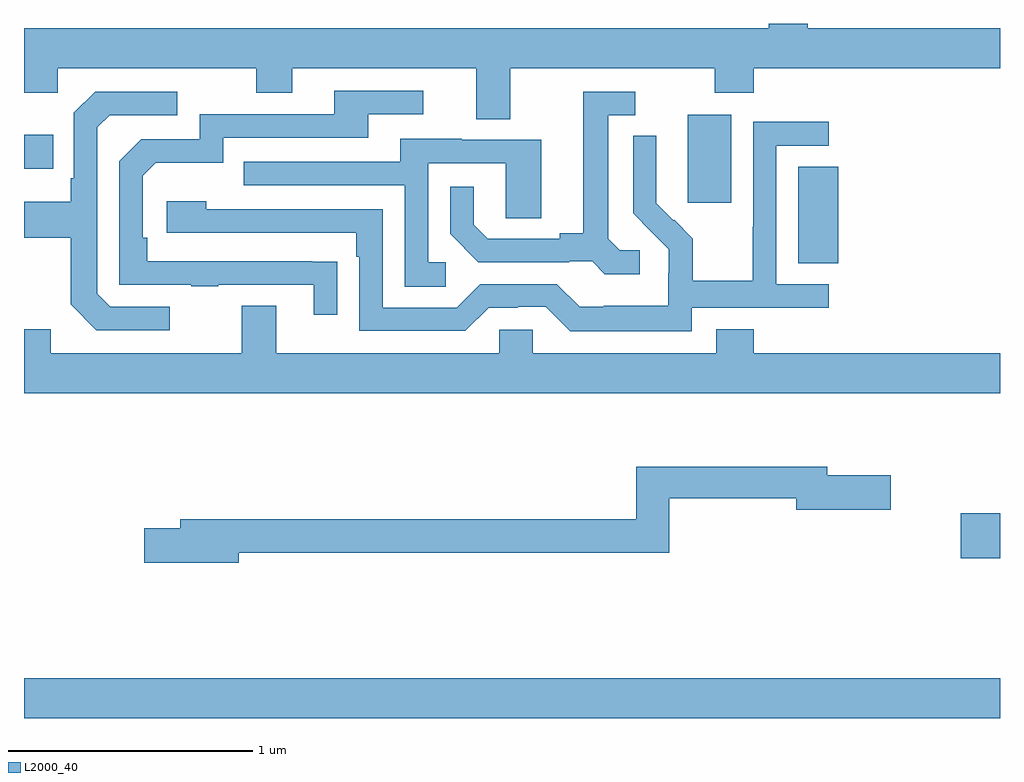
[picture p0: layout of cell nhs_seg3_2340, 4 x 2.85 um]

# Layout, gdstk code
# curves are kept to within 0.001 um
import gdstk
lib = gdstk.Library(unit=1e-6, precision=1e-09)
def R(c, l, rs):  # rectangles x0, y0, x1, y1
    for r in rs: c.add(gdstk.rectangle(r[:2], r[2:], *l))
def P(c, l, *ps):  # polygons
    for p in ps: c.add(gdstk.Polygon(p, *l))
L2000_40 = (2000, 40)

nhs_seg3_2340 = lib.new_cell('nhs_seg3_2340')
R(nhs_seg3_2340, L2000_40, [(231,731.552,235,731.716), (234.84,732.209,235,732.392), (234.173,733.417,234.337,733.814), (233.72,733.665,233.899,734.026), (231,733.805,231.119,733.945)])
P(nhs_seg3_2340, L2000_40, [(232.993,734.216),(233.83,734.216),(233.83,734.117),(233.99,734.117),(233.99,734.216),(235,734.216),(235,734.38),(234.213,734.38),(234.213,734.4),(234.053,734.4),(234.053,734.38),(231,734.38),(231,734.117),(231.138,734.117),(231.138,734.216),(231.952,734.216),(231.952,734.117),(232.099,734.117),(232.099,734.216),(232.853,734.216),(232.853,734.008),(232.993,734.008)],
  [(232.283,733.424),(231.506,733.425),(231.506,733.522),(231.486,733.522),(231.486,733.776),(231.539,733.829),(231.816,733.829),(231.816,733.932),(232.411,733.932),(232.411,734.028),(232.636,734.028),(232.636,734.124),(232.271,734.124),(232.271,734.028),(231.72,734.028),(231.72,733.926),(231.48,733.926),(231.39,733.836),(231.39,733.329),(231.685,733.329),(231.685,733.324),(231.797,733.324),(231.797,733.329),(232.187,733.329),(232.187,733.206),(232.283,733.206)],
  [(231.598,733.239),(231.354,733.239),(231.3,733.293),(231.3,733.974),(231.351,734.025),(231.628,734.025),(231.628,734.121),(231.291,734.121),(231.204,734.034),(231.204,733.765),(231.192,733.765),(231.192,733.669),(231,733.669),(231,733.522),(231.192,733.522),(231.192,733.249),(231.297,733.143),(231.598,733.143)],
  [(233.524,733.47),(233.442,733.47),(233.395,733.517),(233.395,734.025),(233.506,734.025),(233.506,734.121),(233.291,734.121),(233.291,733.541),(233.195,733.541),(233.195,733.518),(232.9,733.518),(232.843,733.575),(232.843,733.732),(232.746,733.732),(232.746,733.538),(232.862,733.422),(233.234,733.422),(233.234,733.425),(233.328,733.425),(233.38,733.373),(233.524,733.373)],
  [(233.736,733.236),(234.298,733.236),(234.298,733.332),(234.084,733.332),(234.084,733.899),(234.298,733.899),(234.298,733.998),(233.988,733.998),(233.988,733.568),(233.986,733.568),(233.986,733.345),(233.741,733.345),(233.741,733.519),(233.664,733.596),(233.661,733.593),(233.591,733.664),(233.592,733.94),(233.496,733.94),(233.496,733.622),(233.642,733.474),(233.642,733.377),(233.64,733.377),(233.64,733.243),(233.377,733.243),(233.377,733.239),(233.277,733.239),(233.184,733.332),(232.869,733.332),(232.773,733.236),(232.47,733.236),(232.47,733.638),(231.746,733.638),(231.746,733.672),(231.585,733.672),(231.585,733.542),(232.361,733.542),(232.361,733.445),(232.374,733.445),(232.374,733.14),(232.809,733.14),(232.905,733.236),(233.024,733.236),(233.024,733.239),(233.139,733.239),(233.239,733.139),(233.736,733.139)],
  [(232.729,733.422),(232.656,733.422),(232.656,733.827),(232.974,733.827),(232.974,733.603),(233.119,733.603),(233.119,733.923),(232.795,733.923),(232.795,733.927),(232.541,733.927),(232.541,733.833),(231.901,733.833),(231.901,733.737),(232.56,733.737),(232.56,733.321),(232.729,733.321)],
  [(235,733.048),(233.99,733.048),(233.99,733.147),(233.837,733.147),(233.837,733.048),(233.085,733.048),(233.085,733.146),(232.947,733.146),(232.947,733.048),(232.033,733.048),(232.033,733.243),(231.893,733.243),(231.893,733.048),(231.109,733.048),(231.109,733.147),(231,733.147),(231,732.884),(235,732.884)],
  [(231.88,732.232),(233.645,732.232),(233.645,732.454),(234.164,732.454),(234.164,732.407),(234.553,732.407),(234.553,732.549),(234.292,732.549),(234.292,732.583),(233.509,732.583),(233.509,732.368),(231.641,732.368),(231.641,732.332),(231.492,732.332),(231.492,732.19),(231.88,732.19)])

lib.write_gds('nhs_seg3_2340.gds')
